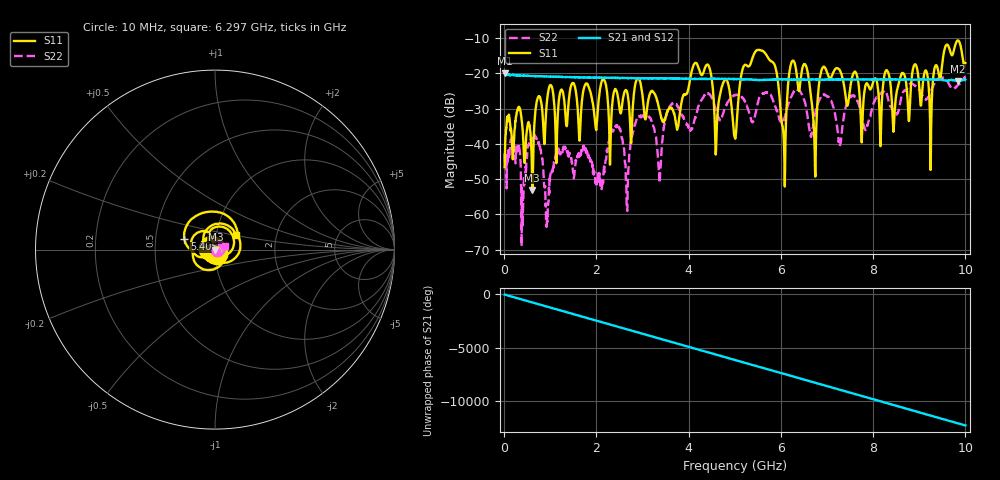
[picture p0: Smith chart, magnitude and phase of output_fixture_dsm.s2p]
!Agilent Technologies,E8364C,MY43040861,A.09.42.22
!Agilent E8364C: A.09.42.22
!Date: Friday, August 08, 2025 15:08:16
!Correction: S11(Full 2 Port(1,2))
!S21(Full 2 Port(1,2))
!S12(Full 2 Port(1,2))
!S22(Full 2 Port(1,2))
!S2P File: Measurements: S11, S21, S12, S22:
# Hz S  RI  R 50
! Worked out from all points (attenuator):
!   1601 points, 10 MHz to 10 GHz, reference 50 ohm
!   highest |S21| = -19.98 dB at 10 MHz (marker M1); lowest = -22.2 dB at 9.844 GHz (marker M2)
!   lowest |S11| = -53.1 dB at 609.4 MHz (marker M3), VSWR 1.00, Z = 50.2 - j0.0786 ohm
!   |S11| at or under -10 dB: start of sweep to end of sweep
!   |S22| runs from -69.0 to -20.9 dB; largest |S21 - S12| = 0.006
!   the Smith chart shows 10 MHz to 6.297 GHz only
!   S11 on the Smith chart (normalised r, x): 10 MHz: 1.01, -0.01; 5.405 GHz: 0.70, +0.08; 6.297 GHz: 1.25, +0.20
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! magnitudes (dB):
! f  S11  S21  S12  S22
! 10 MHz  -46.6  -20.0  -19.8  -42.7
! 415.8 MHz  -39.4  -20.7  -20.6  -56.2
! 609.4 MHz  -53.1  -20.7  -20.7  -39.0
! 927.8 MHz  -27.9  -20.9  -20.9  -60.4
! 1.677 GHz  -29.2  -21.1  -21.1  -41.8
! 2.102 GHz  -22.9  -21.2  -21.2  -51.2
! 2.464 GHz  -26.4  -21.3  -21.3  -34.9
! 2.664 GHz  -25.1  -21.3  -21.4  -58.5
! 3.082 GHz  -31.7  -21.4  -21.4  -31.9
! 3.344 GHz  -29.1  -21.4  -21.4  -46.1
! 3.613 GHz  -29.8  -21.5  -21.4  -29.0
! 4.406 GHz  -17.5  -21.6  -21.6  -25.7
! 5.005 GHz  -38.1  -21.6  -21.6  -26.1
! 5.405 GHz  -14.9  -21.8  -21.8  -33.5
! 5.86 GHz  -17.5  -21.7  -21.8  -28.5
! 6.06 GHz  -38.0  -21.7  -21.7  -33.1
! 6.297 GHz  -17.0  -21.8  -21.8  -24.9
! 6.672 GHz  -28.7  -21.8  -21.7  -36.8
! 8.339 GHz  -20.3  -21.7  -21.8  -28.2
! 9.245 GHz  -47.4  -21.7  -21.8  -25.3
! 9.844 GHz  -10.7  -22.2  -22.1  -23.2
! 10 GHz  -17.1  -21.8  -21.8  -20.9
